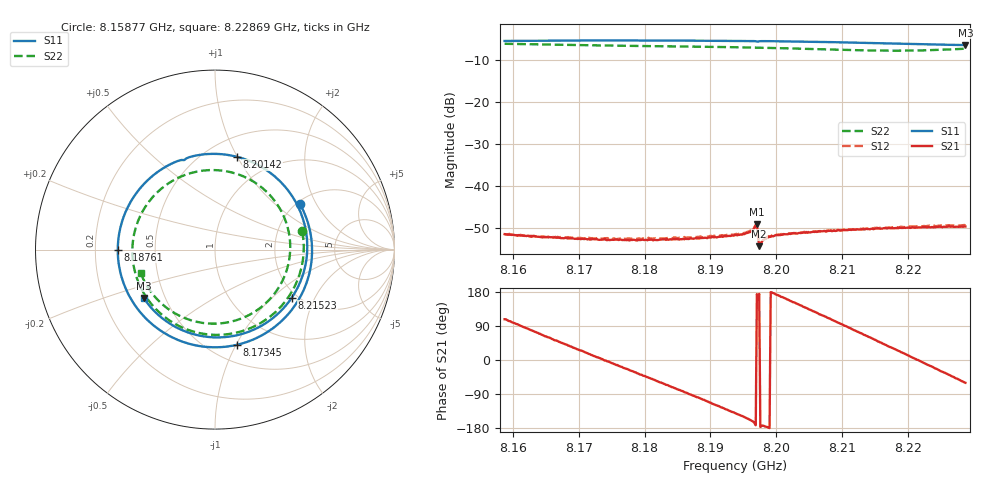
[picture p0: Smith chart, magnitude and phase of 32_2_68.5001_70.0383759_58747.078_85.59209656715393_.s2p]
#  HZ  S  RI  R  50.00
! Rohde & Schwarz Vector Network Analyzer
! Rohde-Schwarz,ZNB20-2Port,1311601062101988,3.16
! Created: UTC 3/20/2024, 5:05:07 PM
! freq[Hz]  re:S11  im:S11  re:S21  im:S21  re:S12  im:S12  re:S22  im:S22
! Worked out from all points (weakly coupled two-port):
!   401 points, 8.15877 GHz to 8.22869 GHz, reference 50 ohm
!   highest |S21| = -49.19 dB at 8.19705 GHz (marker M1); lowest = -54.5 dB at 8.1974 GHz (marker M2)
!   lowest |S11| = -6.4 dB at 8.22869 GHz (marker M3), VSWR 2.85, Z = 19 - j13.3 ohm
!   |S11| at or under -10 dB: nowhere
!   |S22| runs from -7.7 to -6.1 dB; largest |S21 - S12| = 0.00024
!   S11 on the Smith chart (normalised r, x): 8.15877 GHz: 2.10, +1.48; 8.17345 GHz: 0.67, -1.01; 8.18761 GHz: 0.30, +0.00; 8.20142 GHz: 0.69, +1.00; 8.21523 GHz: 1.87, -1.34; 8.22869 GHz: 0.38, -0.27
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8.158765e9  0.4745 0.2515  -0.000797 0.00251  -0.00082 0.00249  0.4863 0.1016
8.164534e9  0.5276 -0.1238  0.000985 0.0022  0.000976 0.00228  0.4284 -0.2337
8.170478e9  0.3079 -0.4488  0.00211 0.000958  0.00214 0.000994  0.1648 -0.4497
8.173449e9  0.1241 -0.5301  0.00226 0.000113  0.00233 9.23e-05  -0.0036 -0.4748
8.177645e9  -0.16 -0.5201  0.002 -0.000972  0.0021 -0.00106  -0.2305 -0.4093
8.18219e9  -0.4173 -0.348  0.0012 -0.00191  0.00124 -0.00199  -0.4053 -0.2276
8.187609e9  -0.5417 0.000307  -0.000224 -0.00233  -0.000278 -0.00243  -0.4546 0.0649
8.190581e9  -0.501 0.203  -0.0011 -0.00214  -0.00119 -0.00223  -0.3994 0.2197
8.193727e9  -0.3774 0.3844  -0.00198 -0.00166  -0.00206 -0.00163  -0.2847 0.3508
8.196699e9  -0.1994 0.4961  -0.00305 -0.00071  -0.00315 -0.000626  -0.1368 0.4259
8.197049e9  -0.1743 0.4987  -0.00345 0.000381  -0.00347 0.000556  -0.1175 0.4308
8.197398e9  -0.1605 0.5076  -0.00188 0.000185  -0.00188 0.000248  -0.0986 0.4351
8.197748e9  -0.1356 0.5172  -0.00209 -0.000218  -0.00211 -0.000114  -0.0791 0.4384
8.198972e9  -0.0489 0.5319  -0.00245 -1.67e-05  -0.00247 0.000106  -0.00996 0.4433
8.201419e9  0.1228 0.5168  -0.0025 0.000807  -0.00251 0.000944  0.1271 0.4199
8.20544e9  0.3664 0.3764  -0.00179 0.00214  -0.00173 0.00221  0.3174 0.2905
8.210334e9  0.5117 0.0667  -1.65e-05 0.00294  4.03e-05 0.003  0.4192 0.0228
8.215229e9  0.4279 -0.2677  0.00194 0.00239  0.00202 0.00241  0.3214 -0.2581
8.217152e9  0.3356 -0.3709  0.00257 0.00177  0.00264 0.00175  0.2305 -0.3403
8.219949e9  0.1591 -0.4674  0.00307 0.000687  0.00319 0.00059  0.0617 -0.407
8.222746e9  -0.0411 -0.4863  0.00313 -0.000594  0.0032 -0.000713  -0.1239 -0.3968
8.228689e9  -0.397 -0.2702  0.00162 -0.00282  0.00152 -0.00298  -0.4144 -0.1297
